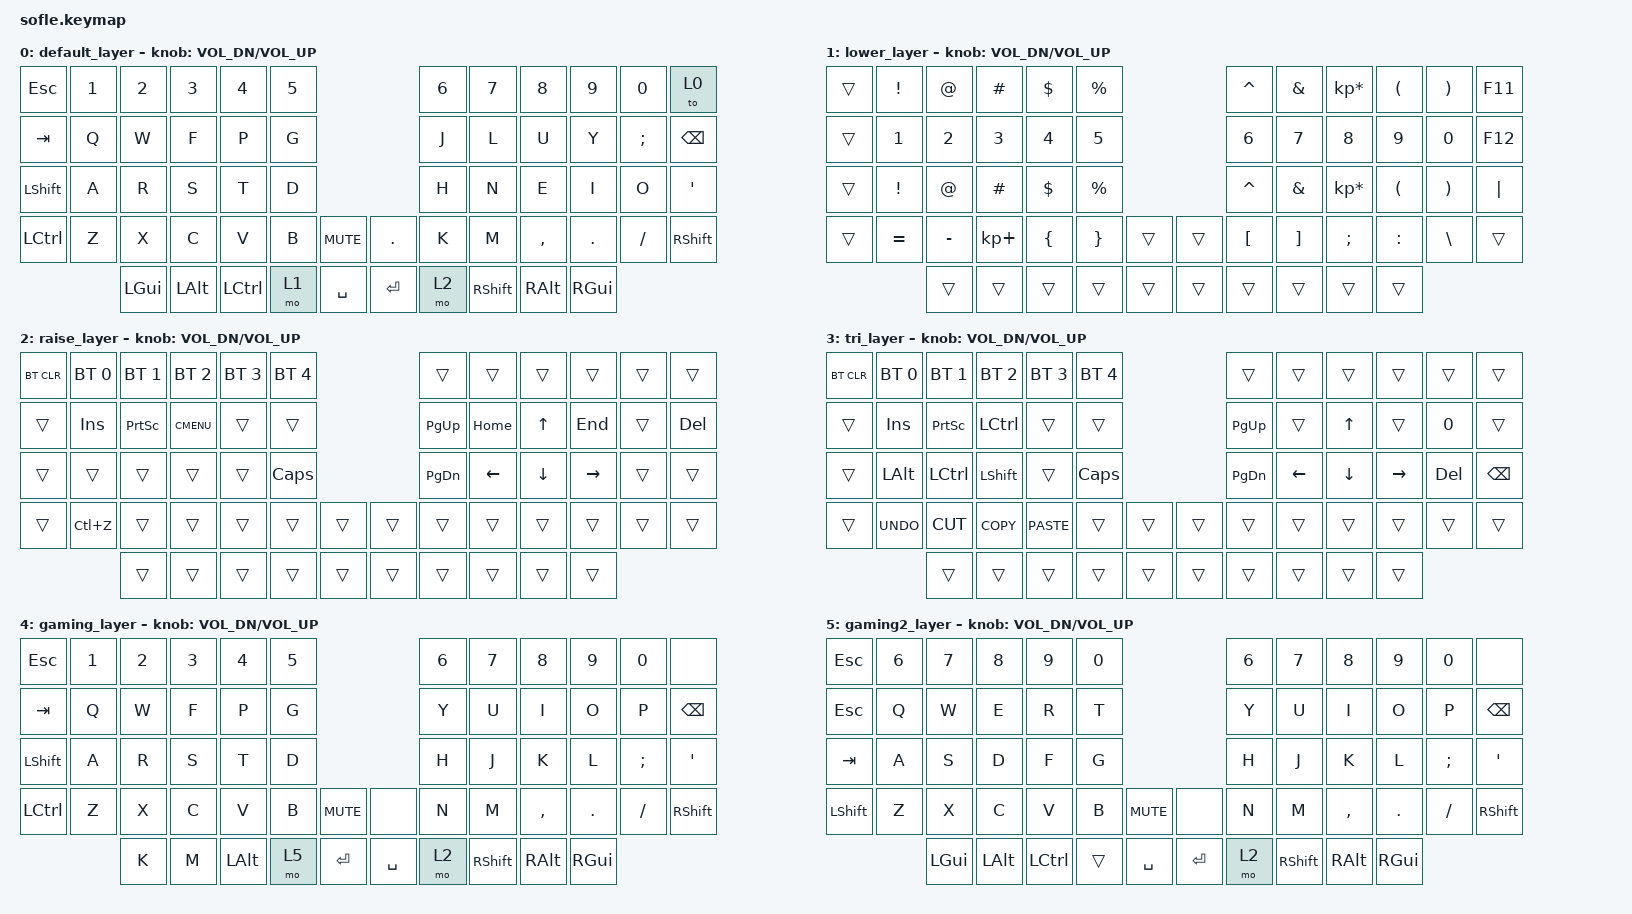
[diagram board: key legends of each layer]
/*
 * Copyright (c) 2020 The ZMK Contributors
 *
 * SPDX-License-Identifier: MIT
 */

#include <behaviors.dtsi>
#include <dt-bindings/zmk/keys.h>
#include <dt-bindings/zmk/bt.h>
#include <dt-bindings/zmk/rgb.h>
#include <dt-bindings/zmk/ext_power.h>

#define DEFAULT 0
#define LOWER 	1
#define RAISE	2
#define TRI 	3
#define GAMING	4
#define GAMING2	5

/ {

		conditional_layers {
		compatible = "zmk,conditional-layers";
		tri_layer {
			if-layers = <1 2>;
			then-layer = <3>;
		};
	};
   
};

/ {

    keymap {
        compatible = "zmk,keymap";

        default_layer {
// ------------------------------------------------------------------------------------------------------------
// |  ESC  |  1  |  2  |  3   |  4   |  5   |                   |  6   |  7    |  8    |  9   |   0   |       |
// |  TAB  |  Q  |  W  |  F   |  P   |  G   |                   |  J   |  L    |  U    |  Y   |   ;   | BKSPC |
// |  SHFT |  A  |  R  |  S   |  T   |  D   |                   |  H   |  N    |  E    |  I   |   O   |   '   |
// |  CTRL |  Z  |  X  |  C   |  V   |  B   |  MUTE  |  |       |  K   |  M    |  ,    |  .   |   /   | SHIFT |
//               | GUI | ALT  | CTRL | LOWER|  SPACE |  | ENTER | RAISE| RSHFT | ALT   | GUI  |
            bindings = <
&kp ESC   &kp N1 &kp N2   &kp N3   &kp N4    &kp N5                        &kp N6 &kp N7    &kp N8    &kp N9   &kp N0   &to 0
&kp TAB   &kp Q  &kp W    &kp F    &kp P     &kp G                         &kp J  &kp L     &kp U     &kp Y    &kp SEMI &kp BSPC
&kp LSHFT &kp A  &kp R    &kp S    &kp T     &kp D                         &kp H  &kp N     &kp E     &kp I    &kp O    &kp SQT
&kp LCTRL &kp Z  &kp X    &kp C    &kp V     &kp B  &kp C_MUTE   &kp DOT   &kp K  &kp M     &kp COMMA &kp DOT  &kp FSLH &kp RSHFT
                 &kp LGUI &kp LALT &kp LCTRL &mo 1  &kp SPACE    &kp ENTER &mo 2  &kp RSHFT &kp RALT  &kp RGUI
            >;

            sensor-bindings = <&inc_dec_kp C_VOL_DN C_VOL_UP>;
        };

        lower_layer {
// TODO: Some binds are waiting for shifted keycode support.
// ------------------------------------------------------------------------------------------------------------
// |       |  !  |  @  |   #  |   $  |   %  |                   |   ^  |   &   |   *   |  (   |   )   |  F11  |
// |       |   1 |   2 |   3  |   4  |   5  |                   |   6  |   7   |   8   |   9  |    0  |  F12  |
// |       |  !  |  @  |  #   |  $   |  %   |                   |  ^   |  &    |  *    |  (   |   )   |   |   |
// |       |  =  |  -  |  +   |  {   |  }   |        |  |       |  [   |  ]    |  ;    |  :   |   \   |       |
//               |     |      |      |      |        |  |       |      |       |       |      |
            bindings = <
&trans    &kp EXCL  &kp AT    &kp HASH    &kp DLLR  &kp PRCNT                 &kp CARET &kp AMPS &kp KP_MULTIPLY &kp LPAR  &kp RPAR  &kp F11
&trans	  &kp N1    &kp N2    &kp N3      &kp N4    &kp N5                    &kp N6    &kp N7   &kp N8          &kp N9    &kp N0    &kp F12
&trans    &kp EXCL  &kp AT    &kp HASH    &kp DLLR  &kp PRCNT                 &kp CARET &kp AMPS &kp KP_MULTIPLY &kp LPAR  &kp RPAR  &kp PIPE
&trans    &kp EQUAL &kp MINUS &kp KP_PLUS &kp LBRC  &kp RBRC  &trans   &trans &kp LBKT  &kp RBKT &kp SEMI        &kp COLON &kp BSLH  &trans
                    &trans    &trans      &trans    &trans    &trans   &trans &trans    &trans   &trans          &trans
            >;

            sensor-bindings = <&inc_dec_kp C_VOL_DN C_VOL_UP>;
        };

        raise_layer {
// ------------------------------------------------------------------------------------------------------------
// |BTCLR| BT1  | BT2  |  BT3  |  BT4  |  BT5 |                |      |      |       |      |       |       |
// |     | INS  | PSCR | GUI   |       |      |                | PGUP | HOME |   ^   |  END |       |  DEL  |
// |     |      |      |       |       | CAPS |                | PGDN |   <- |   v   |  ->  |       |       |
// |     |      |      |       |       |      |      |  |      |      |      |       |      |       |       |
//              |      |       |       |      |      |  |      |      |      |       |      |
            bindings = <
&bt BT_CLR &bt BT_SEL 0 &bt BT_SEL 1 &bt BT_SEL 2 &bt BT_SEL 3 &bt BT_SEL 4             &trans    &trans    &trans   &trans    &trans  &trans
&trans     &kp INS      &kp PSCRN    &kp K_CMENU  &trans       &trans                   &kp PG_UP &kp HOME  &kp UP   &kp END   &trans  &kp DEL
&trans     &trans       &trans       &trans       &trans       &kp CLCK                 &kp PG_DN &kp LEFT  &kp DOWN &kp RIGHT &trans  &trans
&trans     &kp LC(Z)    &trans       &trans       &trans       &trans  &trans   &trans  &trans    &trans    &trans   &trans    &trans  &trans
                        &trans       &trans       &trans       &trans  &trans   &trans  &trans    &trans    &trans   &trans
            >;

            sensor-bindings = <&inc_dec_kp C_VOL_DN C_VOL_UP>;
        };
		
		tri_layer {
// ------------------------------------------------------------------------------------------------------------
// |BTCLR| BT1  | BT2  |  BT3  |  BT4  |  BT5 |                |      |      |       |      |       |       |
// |     | INS  | PSCR | CTRL  |       |      |                | PGUP |      |   ^   |      |       |       |
// |     | ALT  | CTRL | SHIFT |       | CAPS |                | PGDN |   <- |   v   |  ->  |  DEL  | BKSPC |
// |     | UNDO | CUT  | COPY  | PASTE |      |      |  |      |      |      |       |      |       |       |
//              |      |       |       |      |      |  |      |      |      |       |      |
            bindings = <
&bt BT_CLR &bt BT_SEL 0 &bt BT_SEL 1 &bt BT_SEL 2 &bt BT_SEL 3 &bt BT_SEL 4             &trans    &trans    &trans   &trans    &trans  &trans
&trans     &kp INS      &kp PSCRN    &kp LCTRL    &trans       &trans                   &kp PG_UP &trans    &kp UP   &trans    &kp N0  &trans
&trans     &kp LALT     &kp LCTRL    &kp LSHFT    &trans       &kp CLCK                 &kp PG_DN &kp LEFT  &kp DOWN &kp RIGHT &kp DEL &kp BSPC
&trans     &kp K_UNDO   &kp K_CUT    &kp K_COPY   &kp K_PASTE  &trans  &trans   &trans  &trans    &trans    &trans   &trans    &trans  &trans
                        &trans       &trans       &trans       &trans  &trans   &trans  &trans    &trans    &trans   &trans
            >;

            sensor-bindings = <&inc_dec_kp C_VOL_DN C_VOL_UP>;
        };

		gaming_layer {
// ------------------------------------------------------------------------------------------------------------
// |  ESC  |  1  |  2  |  3   |  4   |  5   |                   |  6   |  7    |  8    |  9   |   0   |       |
// |  TAB  |  Q  |  W  |  F   |  P   |  G   |                   |  J   |  L    |  U    |  Y   |   ;   | BKSPC |
// |  SHFT |  A  |  R  |  S   |  T   |  D   |                   |  H   |  N    |  E    |  I   |   O   |   '   |
// |  CTRL |  Z  |  X  |  C   |  V   |  B   |  MUTE  |  |       |  K   |  M    |  ,    |  .   |   /   | SHIFT |
//               |  K  |  M   | ALT  | LOWER|  SPACE |  | ENTER | RAISE| RSHFT | ALT   | GUI  |
            bindings = <
&kp ESC   &kp N1 &kp N2   &kp N3   &kp N4    &kp N5                      &kp N6 &kp N7    &kp N8    &kp N9   &kp N0   &none
&kp TAB   &kp Q  &kp W    &kp F    &kp P     &kp G                       &kp Y  &kp U     &kp I     &kp O    &kp P    &kp BSPC
&kp LSHFT &kp A  &kp R    &kp S    &kp T     &kp D                       &kp H  &kp J     &kp K     &kp L    &kp SEMI &kp SQT
&kp LCTRL &kp Z  &kp X    &kp C    &kp V     &kp B  &kp C_MUTE &none     &kp N  &kp M     &kp COMMA &kp DOT  &kp FSLH &kp RSHFT
                 &kp K    &kp M    &kp LALT  &mo 5  &kp RET    &kp SPACE &mo 2  &kp RSHFT &kp RALT  &kp RGUI
            >;

            sensor-bindings = <&inc_dec_kp C_VOL_DN C_VOL_UP>;
        };

		gaming2_layer {
// ------------------------------------------------------------------------------------------------------------
// |   ESC |  6  |  7  |  8   |  9   |  0   |                   |  6   |  7    |  8    |  9   |   0   |       |
// |    ;  |  J  |  W  |  F   |  P   |  L   |                   |  J   |  L    |  U    |  Y   |   ;   | BKSPC |
// |  SHFT |  U  |  R  |  S   |  T   |  Y   |                   |  H   |  N    |  E    |  I   |   O   |   '   |
// |  CTRL |  H  |  N  |  E   |  I   |  O   |  MUTE  |  |       |  K   |  M    |  ,    |  .   |   /   | SHIFT |
//               |  ,  |  .   | ALT  |      |  SPACE |  | ENTER | RAISE| RSHFT | ALT   | GUI  |
            bindings = <
&kp ESC   &kp N6 &kp N7   &kp N8   &kp N9    &kp N0                      &kp N6 &kp N7    &kp N8    &kp N9   &kp N0   &none
&kp ESC   &kp Q  &kp W    &kp E    &kp R     &kp T                       &kp Y  &kp U     &kp I     &kp O    &kp P    &kp BSPC
&kp TAB   &kp A  &kp S    &kp D    &kp F     &kp G                       &kp H  &kp J     &kp K     &kp L    &kp SEMI &kp SQT
&kp LSHFT &kp Z  &kp X    &kp C    &kp V     &kp B  &kp C_MUTE &none     &kp N  &kp M     &kp COMMA &kp DOT  &kp FSLH &kp RSHFT
                 &kp LGUI &kp LALT &kp LCTRL &trans  &kp SPACE &kp ENTER &mo 2  &kp RSHFT &kp RALT  &kp RGUI
            >;

            sensor-bindings = <&inc_dec_kp C_VOL_DN C_VOL_UP>;
        };
    };
};

